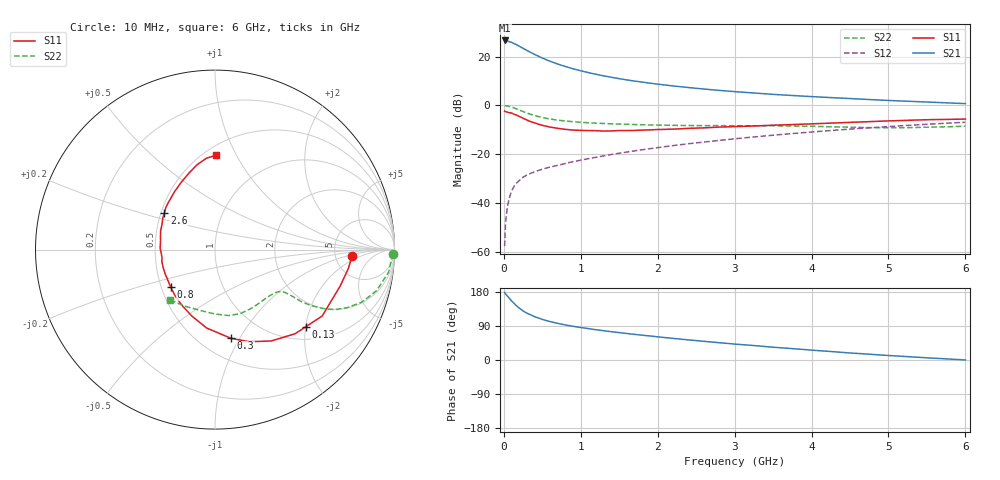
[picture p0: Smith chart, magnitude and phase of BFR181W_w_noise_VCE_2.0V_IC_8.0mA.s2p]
! Infineon Technologies  Discrete & RF Semiconductors
! BFR181W
! VCE =  2.0 V,  IC =  8.0 mA
! Common Emitter S-Parameters:  Jan 2017
# GHz  S  MA  R  50
!  f  S11  S21  S12  S22
! GHz  MAG  ANG  MAG  ANG  MAG  ANG  MAG  ANG
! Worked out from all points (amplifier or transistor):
!   77 points, 10 MHz to 6 GHz, reference 50 ohm
!   highest |S21| = 26.7 dB at 10 MHz (marker M1)
!   |S21| within 3 dB of that: start of sweep to 237.4 MHz
!   unconditionally stable (mu >= 1): 1.018 GHz to 3.013 GHz
!   at 130 MHz: K = 0.25, MSG = 29.4 dB, |S12| = -33.4 dB
!   at 2.2 GHz: K = 1.07, MAG = 10.7 dB, |S12| = -16.5 dB
!   at 6 GHz: K = 0.85, MSG = 3.8 dB, |S12| = -6.9 dB
!   lowest NFmin = 1.14 dB at 450 MHz
!   S11 on the Smith chart (normalised r, x): 10 MHz: 7.31, -1.18; 130 MHz: 1.31, -2.01; 300 MHz: 0.70, -0.92; 800 MHz: 0.56, -0.26; 2.6 GHz: 0.52, +0.24; 6 GHz: 0.57, +0.83
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0.01  0.7649 -2.5  21.54 178.4  0.0013 88.0  0.9922 -1.4
0.02  0.7511 -7.9  21.42 175.0  0.0033 96.1  0.9863 -2.7
0.05  0.7264 -16.2  20.89 167.8  0.0089 82.5  0.9753 -7.5
0.1  0.7026 -31.8  19.66 156.0  0.0174 75.2  0.9285 -14.3
0.13  0.6641 -40.3  18.67 150.1  0.0215 70.9  0.8916 -17.5
0.15  0.6473 -46.4  18.13 145.9  0.0243 68.8  0.8686 -19.7
0.2  0.5974 -58.5  16.42 136.9  0.0288 66.5  0.8064 -23.6
0.25  0.5472 -69.7  14.88 129.5  0.0338 62.5  0.749 -26.5
0.3  0.5021 -79.8  13.42 123.5  0.0375 60.3  0.6972 -28.3
0.4  0.4393 -96.1  11.15 114.1  0.0436 59.3  0.6192 -30.2
0.5  0.3915 -109.4  9.381 107.1  0.0492 57.9  0.5654 -31.0
0.6  0.3604 -120.9  8.087 101.4  0.0545 58.8  0.5273 -31.1
0.7  0.3397 -130.9  7.074 96.7  0.059 60.2  0.4995 -31.1
0.8  0.3234 -139.8  6.296 92.5  0.0647 60.8  0.4798 -31.3
1.1  0.3057 -160.8  4.716 82.8  0.0812 63.4  0.4421 -32.0
1.5  0.3058 178.6  3.544 72.3  0.1049 64.9  0.4146 -35.1
2.1  0.3236 157.5  2.623 59.1  0.1432 65.3  0.3933 -43.4
2.6  0.3472 144.4  2.172 49.3  0.1776 64.1  0.3859 -52.3
3.1  0.3726 133.0  1.873 40.5  0.2144 62.0  0.3834 -61.5
4.1  0.4254 114.9  1.491 24.6  0.2936 55.7  0.3708 -80.5
5.1  0.4877 100.7  1.248 10.7  0.3775 47.2  0.349 -107.1
6  0.5257 89.5  1.091 0.1  0.4527 38.3  0.376 -132.3
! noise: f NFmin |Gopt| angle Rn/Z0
0.45  1.14  0.2  16  0.21
0.9  1.18  0.19  31  0.21
1.9  1.6  0.07  92  0.2
2.4  1.76  0.06  100  0.23
